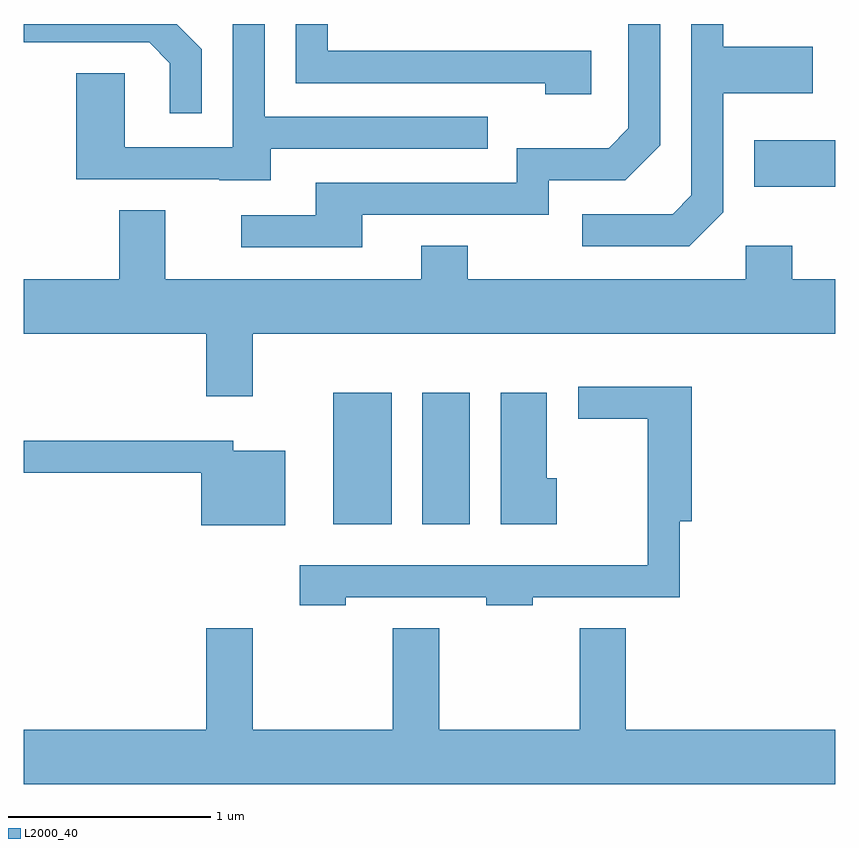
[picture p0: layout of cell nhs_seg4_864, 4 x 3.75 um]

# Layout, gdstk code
import gdstk
lib = gdstk.Library(unit=1e-6, precision=1e-09)
def R(c, l, rs):  # rectangles x0, y0, x1, y1
    for r in rs: c.add(gdstk.rectangle(r[:2], r[2:], *l))
def P(c, l, *ps):  # polygons
    for p in ps: c.add(gdstk.Polygon(p, *l))
L2000_40 = (2000, 40)

nhs_seg4_864 = lib.new_cell('nhs_seg4_864')
R(nhs_seg4_864, L2000_40, [(211.136,1351.516,211.424,1352.164), (211.576,1351.516,211.809,1352.164), (213.211,1353.181,213.611,1353.409)])
P(nhs_seg4_864, L2000_40, [(210.829,1353.366),(211.898,1353.366),(211.898,1353.524),(210.799,1353.524),(210.799,1353.982),(210.641,1353.982),(210.641,1353.374),(210.109,1353.374),(210.109,1353.739),(209.871,1353.739),(209.871,1353.216),(210.575,1353.216),(210.575,1353.211),(210.829,1353.211)],
  [(212.409,1353.849),(211.109,1353.849),(211.109,1353.982),(210.951,1353.982),(210.951,1353.691),(212.181,1353.691),(212.181,1353.636),(212.409,1353.636)],
  [(210.489,1353.857),(210.364,1353.982),(209.611,1353.982),(209.611,1353.891),(210.229,1353.891),(210.331,1353.789),(210.331,1353.543),(210.489,1353.543)],
  [(211.279,1353.041),(212.199,1353.041),(212.199,1353.211),(212.577,1353.211),(212.749,1353.384),(212.749,1353.982),(212.591,1353.982),(212.591,1353.467),(212.494,1353.369),(212.041,1353.369),(212.041,1353.199),(211.051,1353.199),(211.051,1353.039),(210.683,1353.039),(210.683,1352.881),(211.279,1352.881)],
  [(213.059,1353.054),(213.059,1353.641),(213.499,1353.641),(213.499,1353.869),(213.059,1353.869),(213.059,1353.982),(212.901,1353.982),(212.901,1353.137),(212.809,1353.044),(212.363,1353.044),(212.363,1352.886),(212.892,1352.886)],
  [(210.739,1352.456),(213.611,1352.456),(213.611,1352.724),(213.399,1352.724),(213.399,1352.889),(213.171,1352.889),(213.171,1352.724),(211.799,1352.724),(211.799,1352.889),(211.571,1352.889),(211.571,1352.724),(210.309,1352.724),(210.309,1353.064),(210.081,1353.064),(210.081,1352.724),(209.611,1352.724),(209.611,1352.456),(210.511,1352.456),(210.511,1352.146),(210.739,1352.146)],
  [(211.199,1351.156),(211.891,1351.156),(211.891,1351.116),(212.119,1351.116),(212.119,1351.156),(212.844,1351.156),(212.844,1351.531),(212.904,1351.531),(212.904,1352.194),(212.343,1352.194),(212.343,1352.036),(212.686,1352.036),(212.686,1351.314),(210.971,1351.314),(210.971,1351.116),(211.199,1351.116)],
  [(212.239,1351.744),(212.189,1351.744),(212.189,1352.164),(211.961,1352.164),(211.961,1351.516),(212.239,1351.516)],
  [(210.899,1351.879),(210.644,1351.879),(210.644,1351.929),(209.611,1351.929),(209.611,1351.771),(210.486,1351.771),(210.486,1351.511),(210.899,1351.511)],
  [(213.611,1350.504),(212.579,1350.504),(212.579,1351.004),(212.351,1351.004),(212.351,1350.504),(211.659,1350.504),(211.659,1351.004),(211.431,1351.004),(211.431,1350.504),(210.739,1350.504),(210.739,1351.004),(210.511,1351.004),(210.511,1350.504),(209.611,1350.504),(209.611,1350.236),(213.611,1350.236)])

lib.write_gds('nhs_seg4_864.gds')
